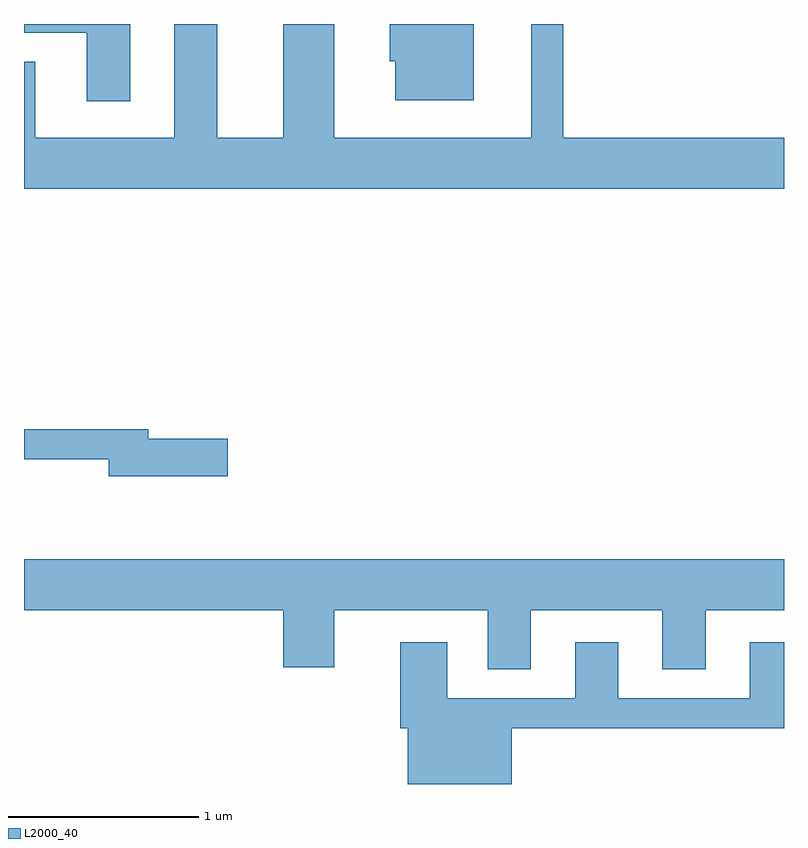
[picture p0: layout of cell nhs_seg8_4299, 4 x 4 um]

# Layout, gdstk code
import gdstk
lib = gdstk.Library(unit=1e-6, precision=1e-09)
def P(c, l, *ps):  # polygons
    for p in ps: c.add(gdstk.Polygon(p, *l))
L2000_40 = (2000, 40)

nhs_seg8_4299 = lib.new_cell('nhs_seg8_4299')
P(nhs_seg8_4299, L2000_40, [(317.611,1887.744),(316.449,1887.744),(316.449,1888.342),(316.281,1888.342),(316.281,1887.744),(315.244,1887.744),(315.244,1888.342),(314.976,1888.342),(314.976,1887.744),(314.629,1887.744),(314.629,1888.342),(314.401,1888.342),(314.401,1887.744),(313.669,1887.744),(313.669,1888.144),(313.611,1888.144),(313.611,1887.476),(317.611,1887.476)],
  [(315.979,1888.342),(315.536,1888.342),(315.536,1888.146),(315.566,1888.146),(315.566,1887.941),(315.979,1887.941)],
  [(314.169,1888.342),(313.611,1888.342),(313.611,1888.296),(313.941,1888.296),(313.941,1887.936),(314.169,1887.936)],
  [(314.684,1886.159),(314.264,1886.159),(314.264,1886.209),(313.611,1886.209),(313.611,1886.051),(314.056,1886.051),(314.056,1885.961),(314.684,1885.961)],
  [(316.279,1885.256),(316.971,1885.256),(316.971,1884.946),(317.199,1884.946),(317.199,1885.256),(317.611,1885.256),(317.611,1885.524),(313.611,1885.524),(313.611,1885.256),(314.976,1885.256),(314.976,1884.956),(315.244,1884.956),(315.244,1885.256),(316.051,1885.256),(316.051,1884.946),(316.279,1884.946)],
  [(316.179,1884.636),(317.611,1884.636),(317.611,1885.089),(317.431,1885.089),(317.431,1884.794),(316.739,1884.794),(316.739,1885.089),(316.511,1885.089),(316.511,1884.794),(315.839,1884.794),(315.839,1885.089),(315.591,1885.089),(315.591,1884.636),(315.631,1884.636),(315.631,1884.342),(316.179,1884.342)])

lib.write_gds('nhs_seg8_4299.gds')
